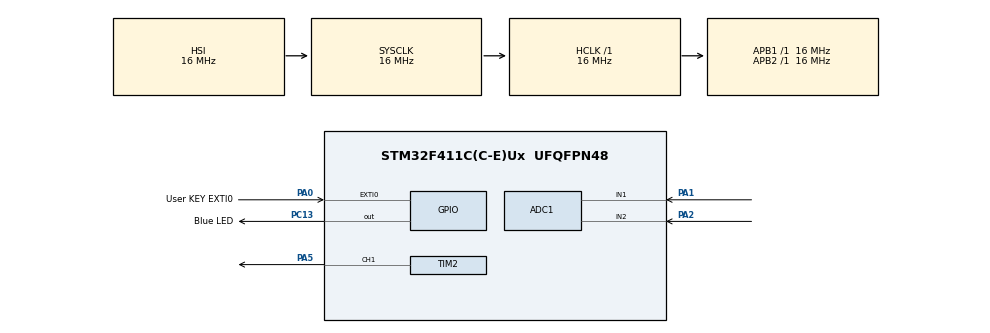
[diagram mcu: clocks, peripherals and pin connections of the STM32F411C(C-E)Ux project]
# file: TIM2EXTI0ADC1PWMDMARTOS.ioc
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ADC1.Channel-0\#ChannelRegularConversion=ADC_CHANNEL_1
ADC1.Channel-1\#ChannelRegularConversion=ADC_CHANNEL_2
ADC1.DMAContinuousRequests=ENABLE
ADC1.NbrOfConversion=2
ADC1.NbrOfConversionFlag=1
ADC1.Rank-0\#ChannelRegularConversion=1
ADC1.Rank-1\#ChannelRegularConversion=2
ADC1.SamplingTime-0\#ChannelRegularConversion=ADC_SAMPLETIME_3CYCLES
ADC1.master=1
Dma.ADC1.0.Direction=DMA_PERIPH_TO_MEMORY
Dma.ADC1.0.FIFOMode=DMA_FIFOMODE_DISABLE
Dma.ADC1.0.Instance=DMA2_Stream0
Dma.ADC1.0.MemDataAlignment=DMA_MDATAALIGN_WORD
Dma.ADC1.0.MemInc=DMA_MINC_ENABLE
Dma.ADC1.0.Mode=DMA_CIRCULAR
Dma.ADC1.0.PeriphDataAlignment=DMA_PDATAALIGN_WORD
Dma.ADC1.0.PeriphInc=DMA_PINC_DISABLE
Dma.ADC1.0.Priority=DMA_PRIORITY_LOW
Dma.Request0=ADC1
FREERTOS.Tasks01=defaultTask,24,128,StartDefaultTask,Default,NULL,Dynamic,NULL,NULL
Mcu.Family=STM32F4
Mcu.Name=STM32F411C(C-E)Ux
Mcu.Package=UFQFPN48
NVIC.ADC_IRQn=true\:5\:0\:true\:false\:true\:true\:true\:true\:true
NVIC.DMA2_Stream0_IRQn=true\:5\:0\:true\:false\:true\:true\:true\:true\:true
NVIC.EXTI0_IRQn=true\:6\:0\:true\:false\:true\:true\:true\:true\:true
NVIC.PriorityGroup=NVIC_PRIORITYGROUP_4
NVIC.TIM1_UP_TIM10_IRQn=true\:15\:0\:false\:false\:true\:false\:false\:true\:true
NVIC.TIM2_IRQn=true\:5\:0\:true\:false\:true\:true\:true\:true\:true
NVIC.TimeBase=TIM1_UP_TIM10_IRQn
NVIC.TimeBaseIP=TIM10
PA0-WKUP.GPIO_Label=User KEY EXTI0
PA0-WKUP.GPIO_PuPd=GPIO_PULLUP
PA0-WKUP.Signal=GPXTI0
PA1.Signal=ADCx_IN1
PA13.Mode=Serial_Wire
PA13.Signal=SYS_JTMS-SWDIO
PA14.Mode=Serial_Wire
PA14.Signal=SYS_JTCK-SWCLK
PA2.Signal=ADCx_IN2
PA5.Signal=S_TIM2_CH1_ETR
PC13-ANTI_TAMP.GPIO_Label=Blue LED
PC13-ANTI_TAMP.GPIO_ModeDefaultOutputPP=GPIO_MODE_OUTPUT_OD
PC13-ANTI_TAMP.GPIO_PuPd=GPIO_NOPULL
PC13-ANTI_TAMP.PinState=GPIO_PIN_SET
PC13-ANTI_TAMP.Signal=GPIO_Output
PC14-OSC32_IN.Mode=LSE-External-Oscillator
PC14-OSC32_IN.Signal=RCC_OSC32_IN
PC15-OSC32_OUT.Mode=LSE-External-Oscillator
PC15-OSC32_OUT.Signal=RCC_OSC32_OUT
PH0\ -\ OSC_IN.Mode=HSE-External-Oscillator
PH0\ -\ OSC_IN.Signal=RCC_OSC_IN
PH1\ -\ OSC_OUT.Mode=HSE-External-Oscillator
PH1\ -\ OSC_OUT.Signal=RCC_OSC_OUT
ProjectManager.HeapSize=0x200
ProjectManager.StackSize=0x400
ProjectManager.TargetToolchain=CMake
RCC.AHBFreq_Value=16000000
RCC.APB1Freq_Value=16000000
RCC.APB2Freq_Value=16000000
RCC.CortexFreq_Value=16000000
RCC.HSE_VALUE=25000000
RCC.HSI_VALUE=16000000
RCC.SYSCLKFreq_VALUE=16000000
RCC.VCOOutputFreq_Value=192000000
SH.ADCx_IN1.0=ADC1_IN1,IN1
SH.ADCx_IN2.0=ADC1_IN2,IN2
SH.S_TIM2_CH1_ETR.0=TIM2_CH1,PWM Generation1 CH1
TIM2.AutoReloadPreload=TIM_AUTORELOAD_PRELOAD_ENABLE
TIM2.Channel-PWM\ Generation1\ CH1=TIM_CHANNEL_1
TIM2.Period=4095
TIM2.Prescaler=3
VP_FREERTOS_VS_CMSIS_V2.Mode=CMSIS_V2
VP_SYS_VS_tim10.Mode=TIM10
VP_TIM2_VS_ClockSourceINT.Mode=Internal
board=custom

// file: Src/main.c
/* USER CODE BEGIN Header */
/**
 ******************************************************************************
 * @file           : main.c
 * @brief          : Main program body
 ******************************************************************************
 * @attention
 *
 * Copyright (c) 2025 STMicroelectronics.
 * All rights reserved.
 *
 * This software is licensed under terms that can be found in the LICENSE file
 * in the root directory of this software component.
 * If no LICENSE file comes with this software, it is provided AS-IS.
 *
 ******************************************************************************
 */
/* USER CODE END Header */
#include "main.h"
#include "cmsis_os.h"

/* USER CODE BEGIN Includes */
#include <stdbool.h>
/* USER CODE END Includes */

ADC_HandleTypeDef hadc1;
DMA_HandleTypeDef hdma_adc1;
TIM_HandleTypeDef htim2;

/* Definitions for LEDTask */
osThreadId_t LEDTaskHandle;
const osThreadAttr_t LEDTask_attributes = {
    .name = "LEDTask",
    .stack_size = 128 * 4,
    .priority = (osPriority_t)osPriorityNormal,
};
/* Definitions for AN1Task */
osThreadId_t AN1TaskHandle;
const osThreadAttr_t AN1Task_attributes = {
    .name = "AN1Task",
    .stack_size = 128 * 4,
    .priority = (osPriority_t)osPriorityNormal,
};
/* Definitions for AN2Task */
osThreadId_t AN2TaskHandle;
const osThreadAttr_t AN2Task_attributes = {
    .name = "AN2Task",
    .stack_size = 128 * 4,
    .priority = (osPriority_t)osPriorityNormal,
};
/* Definitions for AN1Queue */
osMessageQueueId_t AN1QueueHandle;
const osMessageQueueAttr_t AN1Queue_attributes = {
    .name = "AN1Queue"};
/* Definitions for AN2Queue */
osMessageQueueId_t AN2QueueHandle;
const osMessageQueueAttr_t AN2Queue_attributes = {
    .name = "AN2Queue"};
/* Definitions for pwmMutex */
osMutexId_t pwmMutexHandle;
const osMutexAttr_t pwmMutex_attributes = {
    .name = "pwmMutex"};
/* Definitions for buttonSemaphore */
osSemaphoreId_t buttonSemaphoreHandle;
const osSemaphoreAttr_t buttonSemaphore_attributes = {
    .name = "buttonSemaphore"};
/* Definitions for EventFlags */
osEventFlagsId_t EventFlagsHandle;
const osEventFlagsAttr_t EventFlags_attributes = {
    .name = "EventFlags"};

/* USER CODE BEGIN PV */
bool BLUELED = 0;
bool AN1PWM = 0; // AN1 updates PWM compare
bool AN2PWM = 0; // AN2 updates PWM compare
uint32_t AD_RES_BUFFER[2];
uint16_t ADC1IN1, ADC1IN2;
float voltage1, voltage2;
/* USER CODE END PV */

void SystemClock_Config(void);
static void MX_GPIO_Init(void);
static void MX_DMA_Init(void);
static void MX_ADC1_Init(void);
static void MX_TIM2_Init(void);
void StartLEDTask(void *argument);
void StartAN1Task(void *argument);
void StartAN2Task(void *argument);

/* USER CODE BEGIN 0 */
/* Event flag definitions */
#define BUTTON_FLAG (1UL << 0) // Bit 0 for button press
#define PWM_FLAG (1UL << 1)    // Bit 1 for pwm update
/* USER CODE END 0 */

int main(void)
{

  /* MCU Configuration--------------------------------------------------------*/

  /* Reset of all peripherals, Initializes the Flash interface and the Systick. */
  HAL_Init();

  /* Configure the system clock */
  SystemClock_Config();

  /* Initialize all configured peripherals */
  MX_GPIO_Init();
  MX_DMA_Init();
  MX_ADC1_Init();
  MX_TIM2_Init();
  /* USER CODE BEGIN 2 */
  HAL_TIM_PWM_Start_IT(&htim2, TIM_CHANNEL_1);
  /* USER CODE END 2 */

  /* Init scheduler */
  osKernelInitialize();
  /* Create the mutex(es) */
  /* creation of pwmMutex */
  pwmMutexHandle = osMutexNew(&pwmMutex_attributes);

  /* Create the semaphores(s) */
  /* creation of buttonSemaphore */
  buttonSemaphoreHandle = osSemaphoreNew(1, 1, &buttonSemaphore_attributes);

  /* Create the queue(s) */
  /* creation of AN1Queue */
  AN1QueueHandle = osMessageQueueNew(16, sizeof(uint16_t), &AN1Queue_attributes);

  /* creation of AN2Queue */
  AN2QueueHandle = osMessageQueueNew(16, sizeof(uint16_t), &AN2Queue_attributes);

  /* Create the thread(s) */
  /* creation of LEDTask */
  LEDTaskHandle = osThreadNew(StartLEDTask, NULL, &LEDTask_attributes);

  /* creation of AN1Task */
  AN1TaskHandle = osThreadNew(StartAN1Task, NULL, &AN1Task_attributes);

  /* creation of AN2Task */
  AN2TaskHandle = osThreadNew(StartAN2Task, NULL, &AN2Task_attributes);

  /* creation of EventFlags */
  EventFlagsHandle = osEventFlagsNew(&EventFlags_attributes);

  /* Start scheduler */
  osKernelStart();

  /* We should never get here as control is now taken by the scheduler */

  /* Infinite loop */
  while (1)
  {

  }
}

void SystemClock_Config(void)
{
  RCC_OscInitTypeDef RCC_OscInitStruct = {0};
  RCC_ClkInitTypeDef RCC_ClkInitStruct = {0};

  /** Configure the main internal regulator output voltage
   */
  __HAL_RCC_PWR_CLK_ENABLE();
  __HAL_PWR_VOLTAGESCALING_CONFIG(PWR_REGULATOR_VOLTAGE_SCALE1);

  /** Initializes the RCC Oscillators according to the specified parameters
   * in the RCC_OscInitTypeDef structure.
   */
  RCC_OscInitStruct.OscillatorType = RCC_OSCILLATORTYPE_HSI;
  RCC_OscInitStruct.HSIState = RCC_HSI_ON;
  RCC_OscInitStruct.HSICalibrationValue = RCC_HSICALIBRATION_DEFAULT;
  RCC_OscInitStruct.PLL.PLLState = RCC_PLL_NONE;
  if (HAL_RCC_OscConfig(&RCC_OscInitStruct) != HAL_OK)
  {
    Error_Handler();
  }

  /** Initializes the CPU, AHB and APB buses clocks
   */
  RCC_ClkInitStruct.ClockType = RCC_CLOCKTYPE_HCLK | RCC_CLOCKTYPE_SYSCLK | RCC_CLOCKTYPE_PCLK1 | RCC_CLOCKTYPE_PCLK2;
  RCC_ClkInitStruct.SYSCLKSource = RCC_SYSCLKSOURCE_HSI;
  RCC_ClkInitStruct.AHBCLKDivider = RCC_SYSCLK_DIV1;
  RCC_ClkInitStruct.APB1CLKDivider = RCC_HCLK_DIV1;
  RCC_ClkInitStruct.APB2CLKDivider = RCC_HCLK_DIV1;

  if (HAL_RCC_ClockConfig(&RCC_ClkInitStruct, FLASH_LATENCY_0) != HAL_OK)
  {
    Error_Handler();
  }
}

static void MX_ADC1_Init(void)
{

  ADC_ChannelConfTypeDef sConfig = {0};

  /** Configure the global features of the ADC (Clock, Resolution, Data Alignment and number of conversion)
   */
  hadc1.Instance = ADC1;
  hadc1.Init.ClockPrescaler = ADC_CLOCK_SYNC_PCLK_DIV2;
  hadc1.Init.Resolution = ADC_RESOLUTION_12B;
  hadc1.Init.ScanConvMode = ENABLE;
  hadc1.Init.ContinuousConvMode = DISABLE;
  hadc1.Init.DiscontinuousConvMode = DISABLE;
  hadc1.Init.ExternalTrigConvEdge = ADC_EXTERNALTRIGCONVEDGE_NONE;
  hadc1.Init.ExternalTrigConv = ADC_SOFTWARE_START;
  hadc1.Init.DataAlign = ADC_DATAALIGN_RIGHT;
  hadc1.Init.NbrOfConversion = 2;
  hadc1.Init.DMAContinuousRequests = ENABLE;
  hadc1.Init.EOCSelection = ADC_EOC_SINGLE_CONV;
  if (HAL_ADC_Init(&hadc1) != HAL_OK)
  {
    Error_Handler();
  }

  /** Configure for the selected ADC regular channel its corresponding rank in the sequencer and its sample time.
   */
  sConfig.Channel = ADC_CHANNEL_1;
  sConfig.Rank = 1;
  sConfig.SamplingTime = ADC_SAMPLETIME_3CYCLES;
  if (HAL_ADC_ConfigChannel(&hadc1, &sConfig) != HAL_OK)
  {
    Error_Handler();
  }

  /** Configure for the selected ADC regular channel its corresponding rank in the sequencer and its sample time.
   */
  sConfig.Channel = ADC_CHANNEL_2;
  sConfig.Rank = 2;
  if (HAL_ADC_ConfigChannel(&hadc1, &sConfig) != HAL_OK)
  {
    Error_Handler();
  }
}

static void MX_TIM2_Init(void)
{

  TIM_ClockConfigTypeDef sClockSourceConfig = {0};
  TIM_MasterConfigTypeDef sMasterConfig = {0};
  TIM_OC_InitTypeDef sConfigOC = {0};

  htim2.Instance = TIM2;
  htim2.Init.Prescaler = 3;
  htim2.Init.CounterMode = TIM_COUNTERMODE_UP;
  htim2.Init.Period = 4095;
  htim2.Init.ClockDivision = TIM_CLOCKDIVISION_DIV1;
  htim2.Init.AutoReloadPreload = TIM_AUTORELOAD_PRELOAD_ENABLE;
  if (HAL_TIM_Base_Init(&htim2) != HAL_OK)
  {
    Error_Handler();
  }
  sClockSourceConfig.ClockSource = TIM_CLOCKSOURCE_INTERNAL;
  if (HAL_TIM_ConfigClockSource(&htim2, &sClockSourceConfig) != HAL_OK)
  {
    Error_Handler();
  }
  if (HAL_TIM_PWM_Init(&htim2) != HAL_OK)
  {
    Error_Handler();
  }
  sMasterConfig.MasterOutputTrigger = TIM_TRGO_RESET;
  sMasterConfig.MasterSlaveMode = TIM_MASTERSLAVEMODE_DISABLE;
  if (HAL_TIMEx_MasterConfigSynchronization(&htim2, &sMasterConfig) != HAL_OK)
  {
    Error_Handler();
  }
  sConfigOC.OCMode = TIM_OCMODE_PWM1;
  sConfigOC.Pulse = 0;
  sConfigOC.OCPolarity = TIM_OCPOLARITY_HIGH;
  sConfigOC.OCFastMode = TIM_OCFAST_DISABLE;
  if (HAL_TIM_PWM_ConfigChannel(&htim2, &sConfigOC, TIM_CHANNEL_1) != HAL_OK)
  {
    Error_Handler();
  }
  HAL_TIM_MspPostInit(&htim2);
}

static void MX_DMA_Init(void)
{

  /* DMA controller clock enable */
  __HAL_RCC_DMA2_CLK_ENABLE();

  /* DMA interrupt init */
  /* DMA2_Stream0_IRQn interrupt configuration */
  HAL_NVIC_SetPriority(DMA2_Stream0_IRQn, 5, 0);
  HAL_NVIC_EnableIRQ(DMA2_Stream0_IRQn);
}

static void MX_GPIO_Init(void)
{
  GPIO_InitTypeDef GPIO_InitStruct = {0};

  /* GPIO Ports Clock Enable */
  __HAL_RCC_GPIOC_CLK_ENABLE();
  __HAL_RCC_GPIOH_CLK_ENABLE();
  __HAL_RCC_GPIOA_CLK_ENABLE();

  /*Configure GPIO pin Output Level */
  HAL_GPIO_WritePin(Blue_LED_GPIO_Port, Blue_LED_Pin, GPIO_PIN_SET);

  /*Configure GPIO pin : Blue_LED_Pin */
  GPIO_InitStruct.Pin = Blue_LED_Pin;
  GPIO_InitStruct.Mode = GPIO_MODE_OUTPUT_OD;
  GPIO_InitStruct.Pull = GPIO_NOPULL;
  GPIO_InitStruct.Speed = GPIO_SPEED_FREQ_LOW;
  HAL_GPIO_Init(Blue_LED_GPIO_Port, &GPIO_InitStruct);

  /*Configure GPIO pin : User_KEY_EXTI0_Pin */
  GPIO_InitStruct.Pin = User_KEY_EXTI0_Pin;
  GPIO_InitStruct.Mode = GPIO_MODE_IT_RISING;
  GPIO_InitStruct.Pull = GPIO_PULLUP;
  HAL_GPIO_Init(User_KEY_EXTI0_GPIO_Port, &GPIO_InitStruct);

  /* EXTI interrupt init*/
  HAL_NVIC_SetPriority(EXTI0_IRQn, 5, 0);
  HAL_NVIC_EnableIRQ(EXTI0_IRQn);

}

void StartLEDTask(void *argument)
{
  /* USER CODE BEGIN 5 */
  /* Infinite loop */
  for (;;)
  {
    // Check if the event flag for BUTTON_FLAG is set
    uint32_t flags = osEventFlagsWait(EventFlagsHandle, BUTTON_FLAG, osFlagsWaitAny, osWaitForever);
    if ((flags & BUTTON_FLAG) != 0)
    {
      // Clear the event flag
      osEventFlagsClear(EventFlagsHandle, BUTTON_FLAG);
      // Toggle the BLUELED state
      BLUELED = !BLUELED;
    }
    // Control the BLUE LED based on the BLUELED variable
    // Verify if the semaphore is available
    if (osSemaphoreAcquire(buttonSemaphoreHandle, 0) == osOK)
    {
      // Toggle the BLUELED state
      if (BLUELED)
      {
        AN1PWM = 1;                                            // Set flag to update PWM with AN1 data
        AN2PWM = 0;                                            // Reset flag for AN2 PWM update
        HAL_GPIO_WritePin(GPIOC, GPIO_PIN_13, GPIO_PIN_RESET); // LED ON
      }
      else
      {
        AN2PWM = 1;                                          // Set flag to update PWM with AN2 data
        AN1PWM = 0;                                          // Reset flag for AN1 PWM update
        HAL_GPIO_WritePin(GPIOC, GPIO_PIN_13, GPIO_PIN_SET); // LED OFF
      }
      // Release the semaphore
      // This ensures that the semaphore is released only after the LED state is toggled
      // This prevents the semaphore from being released multiple times
      osSemaphoreRelease(buttonSemaphoreHandle);
    }
    osDelay(1);
  }
  /* USER CODE END 5 */
}

void StartAN1Task(void *argument)
{
  /* USER CODE BEGIN StartAN1Task */
  uint16_t ADC1DATA1 = 0;
  /* Infinite loop */
  for (;;)
  {
    // Get ADC values from queue
    if (osMessageQueueGet(AN1QueueHandle, &ADC1DATA1, NULL, 0) == osOK)
    {
      voltage1 = (ADC1DATA1 * 3.3f) / 4095.0f; // Assuming 12-bit ADC and 3.3V reference
      // Process the voltage value as needed
      if (AN1PWM) // Only update PWM if AN1PWM is set
      {
        // Get mutex for PWM control
        if (osMutexAcquire(pwmMutexHandle, osWaitForever) == osOK)
        {
          TIM2->CCR1 = ADC1DATA1; // Assuming TIM2 Channel 1 is used for PWM
          osMutexRelease(pwmMutexHandle);
        }
      }
    }
    osDelay(1);
  }
  /* USER CODE END StartAN1Task */
}

void StartAN2Task(void *argument)
{
  /* USER CODE BEGIN StartAN2Task */
  uint16_t ADC1DATA2 = 0;
  /* Infinite loop */
  for (;;)
  {
    // Get ADC values from queue
    if (osMessageQueueGet(AN2QueueHandle, &ADC1DATA2, NULL, 0) == osOK)
    {
      voltage2 = (ADC1DATA2 * 3.3f) / 4095.0f; // Assuming 12-bit ADC and 3.3V reference
      if (AN2PWM)                              // Only update PWM if AN2PWM is set
      {
        // Set flag to update PWM with AN2 data
        // Get mutex for PWM control
        if (osMutexAcquire(pwmMutexHandle, osWaitForever) == osOK)
        {
          // Set PWM duty cycle based on ADC value
          TIM2->CCR1 = ADC1DATA2; // Assuming TIM2 Channel 1 is used for PWM
          osMutexRelease(pwmMutexHandle);
        }
        // set pwm event flag
      }
    }
    osDelay(1);
  }
  /* USER CODE END StartAN2Task */
}

void HAL_TIM_PeriodElapsedCallback(TIM_HandleTypeDef *htim)
{
  if (htim->Instance == TIM10)
  {
    HAL_IncTick();
  }
}

void Error_Handler(void)
{
  __disable_irq();
  while (1)
  {
  }
}
